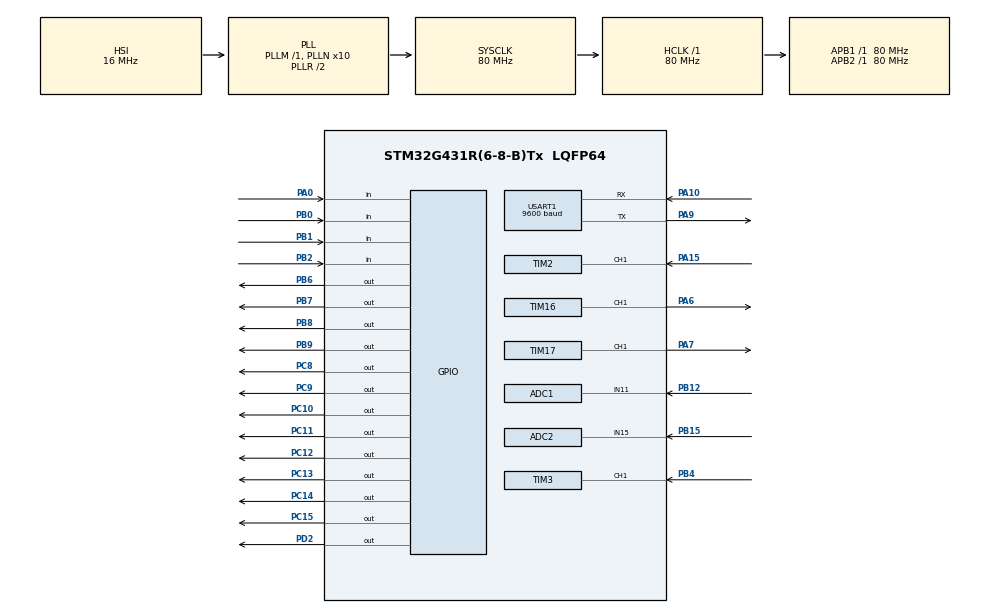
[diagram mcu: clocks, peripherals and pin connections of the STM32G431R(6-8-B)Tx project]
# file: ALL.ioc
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ADC1.Channel-0\#ChannelRegularConversion=ADC_CHANNEL_11
ADC1.NbrOfConversionFlag=1
ADC1.OffsetNumber-0\#ChannelRegularConversion=ADC_OFFSET_NONE
ADC1.Rank-0\#ChannelRegularConversion=1
ADC1.SamplingTime-0\#ChannelRegularConversion=ADC_SAMPLETIME_2CYCLES_5
ADC1.master=1
ADC2.Channel-0\#ChannelRegularConversion=ADC_CHANNEL_15
ADC2.NbrOfConversionFlag=1
ADC2.OffsetNumber-0\#ChannelRegularConversion=ADC_OFFSET_NONE
ADC2.Rank-0\#ChannelRegularConversion=1
ADC2.SamplingTime-0\#ChannelRegularConversion=ADC_SAMPLETIME_2CYCLES_5
Mcu.Family=STM32G4
Mcu.Name=STM32G431R(6-8-B)Tx
Mcu.Package=LQFP64
NVIC.PriorityGroup=NVIC_PRIORITYGROUP_4
NVIC.TIM2_IRQn=true\:0\:0\:false\:false\:true\:true\:true\:true
NVIC.TIM3_IRQn=true\:0\:0\:false\:false\:true\:true\:true\:true
NVIC.TIM4_IRQn=true\:0\:0\:false\:false\:true\:true\:true\:true
NVIC.USART1_IRQn=true\:0\:0\:false\:false\:true\:true\:true\:true
PA0.GPIO_PuPd=GPIO_PULLUP
PA0.Signal=GPIO_Input
PA10.Mode=Asynchronous
PA10.Signal=USART1_RX
PA13.Mode=Serial_Wire
PA13.Signal=SYS_JTMS-SWDIO
PA14.Mode=Serial_Wire
PA14.Signal=SYS_JTCK-SWCLK
PA15.Signal=S_TIM2_CH1
PA6.Signal=S_TIM16_CH1
PA7.Signal=S_TIM17_CH1
PA9.Mode=Asynchronous
PA9.Signal=USART1_TX
PB0.GPIO_PuPd=GPIO_PULLUP
PB0.Signal=GPIO_Input
PB1.GPIO_PuPd=GPIO_PULLUP
PB1.Signal=GPIO_Input
PB12.Mode=IN11-Single-Ended
PB12.Signal=ADC1_IN11
PB15.Mode=IN15-Single-Ended
PB15.Signal=ADC2_IN15
PB2.GPIO_PuPd=GPIO_PULLUP
PB2.Signal=GPIO_Input
PB4.Signal=S_TIM3_CH1
PB6.Signal=GPIO_Output
PB7.Signal=GPIO_Output
PB8-BOOT0.Signal=GPIO_Output
PB9.Signal=GPIO_Output
PC10.PinState=GPIO_PIN_SET
PC10.Signal=GPIO_Output
PC11.PinState=GPIO_PIN_SET
PC11.Signal=GPIO_Output
PC12.PinState=GPIO_PIN_SET
PC12.Signal=GPIO_Output
PC13.PinState=GPIO_PIN_SET
PC13.Signal=GPIO_Output
PC14-OSC32_IN.PinState=GPIO_PIN_SET
PC14-OSC32_IN.Signal=GPIO_Output
PC15-OSC32_OUT.PinState=GPIO_PIN_SET
PC15-OSC32_OUT.Signal=GPIO_Output
PC8.PinState=GPIO_PIN_SET
PC8.Signal=GPIO_Output
PC9.PinState=GPIO_PIN_SET
PC9.Signal=GPIO_Output
PD2.Signal=GPIO_Output
PF0-OSC_IN.Mode=HSE-External-Oscillator
PF0-OSC_IN.Signal=RCC_OSC_IN
PF1-OSC_OUT.Mode=HSE-External-Oscillator
PF1-OSC_OUT.Signal=RCC_OSC_OUT
ProjectManager.HeapSize=0x200
ProjectManager.StackSize=0x400
ProjectManager.TargetToolchain=MDK-ARM V5.32
RCC.ADC12Freq_Value=80000000
RCC.AHBFreq_Value=80000000
RCC.APB1Freq_Value=80000000
RCC.APB1TimFreq_Value=80000000
RCC.APB2Freq_Value=80000000
RCC.APB2TimFreq_Value=80000000
RCC.CortexFreq_Value=80000000
RCC.EXTERNAL_CLOCK_VALUE=12288000
RCC.HCLKFreq_Value=80000000
RCC.HSE_VALUE=8000000
RCC.HSI48_VALUE=48000000
RCC.HSI_VALUE=16000000
RCC.LSE_VALUE=32768
RCC.PLLN=10
RCC.SYSCLKFreq_VALUE=80000000
RCC.SYSCLKSource=RCC_SYSCLKSOURCE_PLLCLK
RCC.USBFreq_Value=80000000
RCC.VCOOutputFreq_Value=160000000
SH.S_TIM16_CH1.0=TIM16_CH1,PWM Generation1 CH1
SH.S_TIM17_CH1.0=TIM17_CH1,PWM Generation1 CH1
SH.S_TIM2_CH1.0=TIM2_CH1,Input_Capture1_from_TI1
SH.S_TIM3_CH1.0=TIM3_CH1,Input_Capture1_from_TI1
TIM16.Channel=TIM_CHANNEL_1
TIM16.PeriodNoDither=100-1
TIM16.Prescaler=8000-1
TIM16.PulseNoDither_1=20
TIM17.Channel=TIM_CHANNEL_1
TIM17.PeriodNoDither=100-1
TIM17.Prescaler=4000-1
TIM17.PulseNoDither_1=20
TIM2.Channel-Input_Capture1_from_TI1=TIM_CHANNEL_1
TIM2.Channel-Input_Capture2_from_TI1_63=TIM_CHANNEL_2
TIM2.ICPolarity_CH2=TIM_INPUTCHANNELPOLARITY_FALLING
TIM2.PeriodNoDither=10000-1
TIM2.Prescaler=80-1
TIM3.Channel-Input_Capture1_from_TI1=TIM_CHANNEL_1
TIM3.Channel-Input_Capture2_from_TI1_63=TIM_CHANNEL_2
TIM3.ICPolarity_CH2=TIM_INPUTCHANNELPOLARITY_FALLING
TIM3.Prescaler=80-1
TIM4.PeriodNoDither=10000-1
TIM4.Prescaler=80-1
USART1.BaudRate=9600
USART1.VirtualMode-Asynchronous=VM_ASYNC
VP_SYS_VS_DBSignals.Mode=DisableDeadBatterySignals
VP_TIM16_VS_ClockSourceINT.Mode=Enable_Timer
VP_TIM17_VS_ClockSourceINT.Mode=Enable_Timer
VP_TIM2_VS_ClockSourceINT.Mode=Internal
VP_TIM2_VS_indirect_ch1.Mode=Input_Capture2_from_TI1_63
VP_TIM3_VS_ClockSourceINT.Mode=Internal
VP_TIM3_VS_indirect_ch1.Mode=Input_Capture2_from_TI1_63
VP_TIM4_VS_ClockSourceINT.Mode=Internal
board=custom

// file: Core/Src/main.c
/* USER CODE BEGIN Header */
/**
  ******************************************************************************
  * @file           : main.c
  * @brief          : Main program body
  ******************************************************************************
  * @attention
  *
  * Copyright (c) 2024 STMicroelectronics.
  * All rights reserved.
  *
  * This software is licensed under terms that can be found in the LICENSE file
  * in the root directory of this software component.
  * If no LICENSE file comes with this software, it is provided AS-IS.
  *
  ******************************************************************************
  */
/* USER CODE END Header */
#include "main.h"
#include "adc.h"
#include "tim.h"
#include "usart.h"
#include "gpio.h"

/* USER CODE BEGIN Includes */
#include "led.h"
#include "lcd.h"
#include "stdio.h"
#include "interrupt.h"
#include "badc.h"
#include "i2c - hal.h"
#include "string.h"
/* USER CODE END Includes */

/* USER CODE BEGIN PTD */
extern struct keys key[4];
extern uint frq1, frq2;
extern float duty1,duty2;//ռ�ձ�

extern char rxdata[30];
extern uint8_t rxdat;
extern uchar rx_pointer;
char car_type[5];
char car_data[10];
char car_time[13];
uchar view = 0;
uchar pa6_duty;
uchar pa7_duty;
void key_proc(void);
void disp_proc(void);
void uart_rx_proc(void);
/* USER CODE END PTD */

void SystemClock_Config(void);
/* USER CODE BEGIN PFP */
void LED_Disp(uchar dsLED);

/* USER CODE END PFP */

int main(void)
{

  /* MCU Configuration--------------------------------------------------------*/

  /* Reset of all peripherals, Initializes the Flash interface and the Systick. */
  HAL_Init();

  /* USER CODE BEGIN Init */
	LCD_Init();
  /* USER CODE END Init */

  /* Configure the system clock */
  SystemClock_Config();

  /* Initialize all configured peripherals */
  MX_GPIO_Init();
  MX_TIM2_Init();
  MX_TIM16_Init();
  MX_TIM17_Init();
  MX_TIM3_Init();
  MX_TIM4_Init();
  MX_ADC1_Init();
  MX_ADC2_Init();
  MX_USART1_UART_Init();
  /* USER CODE BEGIN 2 */
		HAL_UART_Receive_IT(&huart1, &rxdat,1);
	HAL_TIM_Base_Start_IT(&htim2);
	HAL_TIM_Base_Start_IT(&htim4);
	HAL_TIM_PWM_Start(&htim16, TIM_CHANNEL_1);
	HAL_TIM_PWM_Start(&htim17, TIM_CHANNEL_1);
	HAL_TIM_IC_Start_IT(&htim2, TIM_CHANNEL_1);
	HAL_TIM_IC_Start_IT(&htim3, TIM_CHANNEL_1);
	HAL_TIM_IC_Start_IT(&htim2, TIM_CHANNEL_2);
	HAL_TIM_IC_Start_IT(&htim3, TIM_CHANNEL_2);

	LCD_Clear(Black);
	LCD_SetBackColor(Black);
	LCD_SetTextColor(White);

//	LCD_Clear(Blue);
//	LCD_SetBackColor(White);
//	LCD_SetTextColor(Blue);
//	LCD_DisplayStringLine(Line0,(uint8_t *)"                    ");
//	LCD_DisplayStringLine(Line1,(uint8_t *)"                    ");
//	LCD_DisplayStringLine(Line2,(uint8_t *)"       hello        ");
//	LCD_DisplayStringLine(Line3,(uint8_t *)"                    ");
//	LCD_DisplayStringLine(Line4,(uint8_t *)"                    ");
//	LCD_SetBackColor(White);
//	LCD_SetTextColor(Blue);
//	LCD_DisplayStringLine(Line5,(uint8_t *)"                    ");
//	LCD_DisplayStringLine(Line6,(uint8_t *)"                    ");
//	LCD_DisplayStringLine(Line7,(uint8_t *)"                    ");
//	LCD_DisplayStringLine(Line8,(uint8_t *)"                    ");
//	LCD_DisplayStringLine(Line9,(uint8_t *)"                    ");
//
  /* USER CODE END 2 */

  /* Infinite loop */
  while (1)
  {

    /* USER CODE BEGIN 3 */
		key_proc();
		disp_proc();
		uart_rx_proc();

		char temp[20];
		sprintf(temp,"frq=%d\r\n",frq1);
		HAL_UART_Transmit(&huart1, (uint8_t *)temp, strlen(temp),50);
//		if(key[2].two_flag == 1)
//		{
//			LED_Disp(0xff);
//			key[2].two_flag = 0;
//
//		}
//		if(key[0].single_flag == 1)
//		{
//			LED_Disp(0xff);
//			key[0].single_flag = 0;
//		}
//		if(key[1].single_flag == 1)
//		{
//			LED_Disp(0x88);
//			key[1].single_flag = 0;
//		}
//		LED_Disp(0x08);
  }
  /* USER CODE END 3 */
}

void SystemClock_Config(void)
{
  RCC_OscInitTypeDef RCC_OscInitStruct = {0};
  RCC_ClkInitTypeDef RCC_ClkInitStruct = {0};

  /** Configure the main internal regulator output voltage
  */
  HAL_PWREx_ControlVoltageScaling(PWR_REGULATOR_VOLTAGE_SCALE1);

  /** Initializes the RCC Oscillators according to the specified parameters
  * in the RCC_OscInitTypeDef structure.
  */
  RCC_OscInitStruct.OscillatorType = RCC_OSCILLATORTYPE_HSI;
  RCC_OscInitStruct.HSIState = RCC_HSI_ON;
  RCC_OscInitStruct.HSICalibrationValue = RCC_HSICALIBRATION_DEFAULT;
  RCC_OscInitStruct.PLL.PLLState = RCC_PLL_ON;
  RCC_OscInitStruct.PLL.PLLSource = RCC_PLLSOURCE_HSI;
  RCC_OscInitStruct.PLL.PLLM = RCC_PLLM_DIV1;
  RCC_OscInitStruct.PLL.PLLN = 10;
  RCC_OscInitStruct.PLL.PLLP = RCC_PLLP_DIV2;
  RCC_OscInitStruct.PLL.PLLQ = RCC_PLLQ_DIV2;
  RCC_OscInitStruct.PLL.PLLR = RCC_PLLR_DIV2;
  if (HAL_RCC_OscConfig(&RCC_OscInitStruct) != HAL_OK)
  {
    Error_Handler();
  }

  /** Initializes the CPU, AHB and APB buses clocks
  */
  RCC_ClkInitStruct.ClockType = RCC_CLOCKTYPE_HCLK|RCC_CLOCKTYPE_SYSCLK
                              |RCC_CLOCKTYPE_PCLK1|RCC_CLOCKTYPE_PCLK2;
  RCC_ClkInitStruct.SYSCLKSource = RCC_SYSCLKSOURCE_PLLCLK;
  RCC_ClkInitStruct.AHBCLKDivider = RCC_SYSCLK_DIV1;
  RCC_ClkInitStruct.APB1CLKDivider = RCC_HCLK_DIV1;
  RCC_ClkInitStruct.APB2CLKDivider = RCC_HCLK_DIV1;

  if (HAL_RCC_ClockConfig(&RCC_ClkInitStruct, FLASH_LATENCY_2) != HAL_OK)
  {
    Error_Handler();
  }
}

/* USER CODE BEGIN 4 */
void uart_rx_proc()
{
	if(rx_pointer>0)
	{
		if(rx_pointer == 22)
		{
			sscanf(rxdata,"%4s:%4s:%12s",car_type,car_data,car_time);
		}
		else
		{
			char temp[20];
			sprintf(temp,"Error");
			HAL_UART_Transmit(&huart1, (uint8_t *)temp, strlen(temp),50);
		}
		rx_pointer = 0;memset(rxdata,0,30);
	}
}
void key_proc(void)
	{
		if(key[0].single_flag == 1)
		{
			view = view+1;
			if(view > 2)
			{
				view =0;
			}
			LED_Disp(0xff);
			key[0].single_flag = 0;
			LCD_Clear(Black);
			LCD_SetBackColor(Black);
		}
		if(key[1].single_flag == 1)
		{
			pa6_duty=pa6_duty+10;
			if(pa6_duty > 90)
			{
				pa6_duty = 10;
			}
			__HAL_TIM_SetCompare(&htim16, TIM_CHANNEL_1,pa6_duty);
			LCD_Clear(Black);
			LCD_SetBackColor(Black);
			key[1].single_flag = 0;
		}
		if(key[2].single_flag == 1)
		{
			pa7_duty=pa7_duty+10;
			if(pa7_duty > 90)
			{
				pa7_duty = 10;
			}
			__HAL_TIM_SetCompare(&htim17, TIM_CHANNEL_1,pa7_duty);
			LCD_Clear(Black);
			LCD_SetBackColor(Black);
			key[2].single_flag = 0;
		}
		if(key[3].single_flag == 1)
		{
		  uchar frq_h = frq1>>8;
			uchar frq_l = frq1&0xff;
			eeprom_write(1,frq_h);
			HAL_Delay(10);
			eeprom_write(2,frq_l);
			key[3].single_flag = 0;
		}
	}
	void disp_proc(void)
{
	if(view==0)
	{
		char text[30];
		sprintf(text,"      Data      ");
		LCD_DisplayStringLine(Line1, (uint8_t *)text);
		sprintf(text,"     FRQ1=%d      ",frq1);
		LCD_DisplayStringLine(Line2, (uint8_t *)text);
		sprintf(text,"     duty1=%.3f      ",duty1);
		LCD_DisplayStringLine(Line3, (uint8_t *)text);
		sprintf(text,"     FRQ2=%d      ",frq2);
		LCD_DisplayStringLine(Line4, (uint8_t *)text);
		sprintf(text,"     duty2=%.3f      ",duty2);
		LCD_DisplayStringLine(Line5, (uint8_t *)text);
		sprintf(text,"     V1=%.2f      ",getADC(&hadc1));
		LCD_DisplayStringLine(Line6, (uint8_t *)text);
		sprintf(text,"     V2=%.2f      ",getADC(&hadc2));
		LCD_DisplayStringLine(Line7, (uint8_t *)text);
		uint eep_temp=(eeprom_read(1)<<8)+eeprom_read(2);
		sprintf(text,"    FRQ_eep=%d      ",eep_temp);
		LCD_DisplayStringLine(Line8, (uint8_t *)text);
	}
	if(view==1)
	{
		char text[30];
		sprintf(text,"      Para      ");
		LCD_DisplayStringLine(Line1, (uint8_t *)text);
		sprintf(text,"    PA6:%d      ",pa6_duty);
		LCD_DisplayStringLine(Line2, (uint8_t *)text);
		sprintf(text,"    PA7:%d      ",pa7_duty);
		LCD_DisplayStringLine(Line4, (uint8_t *)text);

		//�����������
		sprintf(text,"                        ");
		LCD_DisplayStringLine(Line3, (uint8_t *)text);
		LCD_DisplayStringLine(Line5, (uint8_t *)text);
	}
	if(view==2)
	{
		char text[30];
		sprintf(text,"      Car_msg      ");
		LCD_DisplayStringLine(Line1, (uint8_t *)text);
		sprintf(text,"   Car_type:%s      ",car_type);
		LCD_DisplayStringLine(Line3, (uint8_t *)text);
		sprintf(text,"   Car_data:%s      ",car_data);
		LCD_DisplayStringLine(Line5, (uint8_t *)text);
		sprintf(text,"   Car_time:%s      ",car_time);
		LCD_DisplayStringLine(Line7, (uint8_t *)text);

	}
}
/* USER CODE END 4 */

void Error_Handler(void)
{
  __disable_irq();
  while (1)
  {
  }
}
